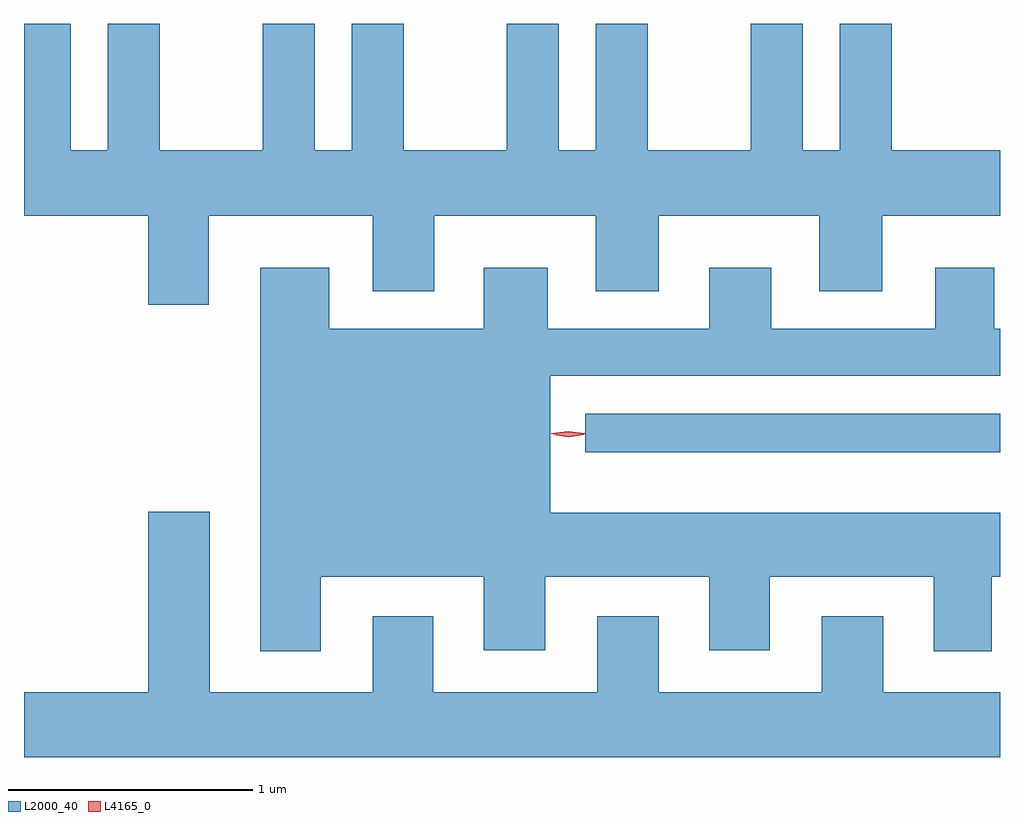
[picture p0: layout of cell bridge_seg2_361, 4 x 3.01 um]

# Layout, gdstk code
import gdstk
lib = gdstk.Library(unit=1e-6, precision=1e-09)
def R(c, l, rs):  # rectangles x0, y0, x1, y1
    for r in rs: c.add(gdstk.rectangle(r[:2], r[2:], *l))
def P(c, l, *ps):  # polygons
    for p in ps: c.add(gdstk.Polygon(p, *l))
L2000_40 = (2000, 40)
L4165_0 = (4165, 0)

bridge_seg2_361 = lib.new_cell('bridge_seg2_361')
R(bridge_seg2_361, L2000_40, [(608.353,1031.806,610.052,1031.964)])
P(bridge_seg2_361, L2000_40, [(606.809,1032.776),(607.481,1032.776),(607.481,1032.466),(607.734,1032.466),(607.734,1032.776),(608.396,1032.776),(608.396,1032.466),(608.654,1032.466),(608.654,1032.776),(609.311,1032.776),(609.311,1032.466),(609.569,1032.466),(609.569,1032.776),(610.052,1032.776),(610.052,1033.044),(609.609,1033.044),(609.609,1033.564),(609.396,1033.564),(609.396,1033.044),(609.244,1033.044),(609.244,1033.564),(609.031,1033.564),(609.031,1033.044),(608.609,1033.044),(608.609,1033.564),(608.396,1033.564),(608.396,1033.044),(608.244,1033.044),(608.244,1033.564),(608.031,1033.564),(608.031,1033.044),(607.609,1033.044),(607.609,1033.564),(607.396,1033.564),(607.396,1033.044),(607.244,1033.044),(607.244,1033.564),(607.031,1033.564),(607.031,1033.044),(606.609,1033.044),(606.609,1033.564),(606.396,1033.564),(606.396,1033.044),(606.244,1033.044),(606.244,1033.564),(606.052,1033.564),(606.052,1032.776),(606.561,1032.776),(606.561,1032.411),(606.809,1032.411)],
  [(607.269,1031.296),(607.936,1031.296),(607.936,1030.996),(608.189,1030.996),(608.189,1031.296),(608.861,1031.296),(608.861,1030.996),(609.109,1030.996),(609.109,1031.296),(609.781,1031.296),(609.781,1030.991),(610.019,1030.991),(610.019,1031.296),(610.052,1031.296),(610.052,1031.559),(608.209,1031.559),(608.209,1032.121),(610.052,1032.121),(610.052,1032.314),(610.029,1032.314),(610.029,1032.564),(609.786,1032.564),(609.786,1032.314),(609.114,1032.314),(609.114,1032.564),(608.861,1032.564),(608.861,1032.314),(608.199,1032.314),(608.199,1032.564),(607.936,1032.564),(607.936,1032.314),(607.304,1032.314),(607.304,1032.564),(607.021,1032.564),(607.021,1030.991),(607.269,1030.991)],
  [(610.052,1030.824),(609.574,1030.824),(609.574,1031.134),(609.321,1031.134),(609.321,1030.824),(608.654,1030.824),(608.654,1031.134),(608.401,1031.134),(608.401,1030.824),(607.729,1030.824),(607.729,1031.134),(607.481,1031.134),(607.481,1030.824),(606.814,1030.824),(606.814,1031.564),(606.561,1031.564),(606.561,1030.824),(606.052,1030.824),(606.052,1030.556),(610.052,1030.556)])
P(bridge_seg2_361, L4165_0, [(608.284,1031.869),(608.222,1031.878),(608.222,1031.879),(608.222,1031.879),(608.284,1031.889),(608.346,1031.88),(608.347,1031.879),(608.346,1031.879)],
  [(608.282,1031.874),(608.213,1031.883),(608.212,1031.884),(608.213,1031.884),(608.282,1031.894),(608.35,1031.884),(608.35,1031.884),(608.35,1031.883)])

lib.write_gds('bridge_seg2_361.gds')
